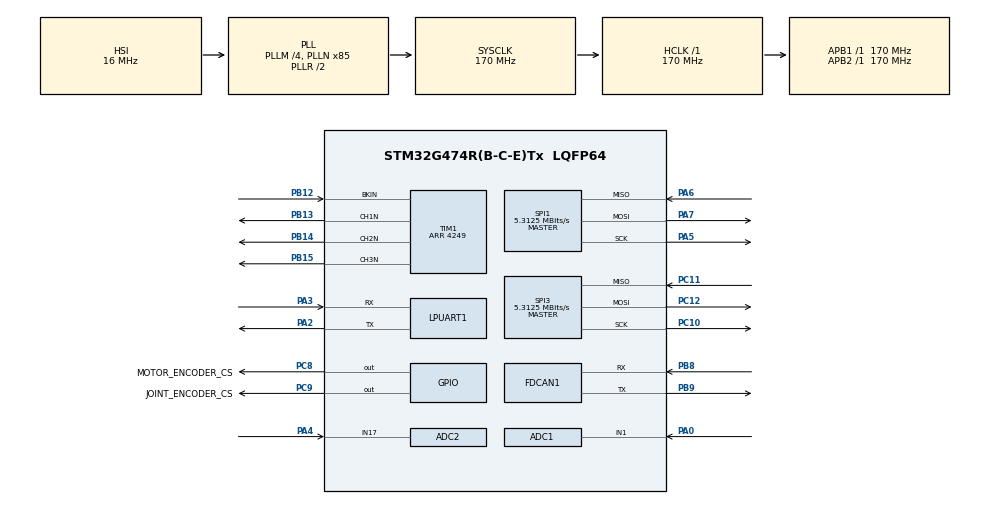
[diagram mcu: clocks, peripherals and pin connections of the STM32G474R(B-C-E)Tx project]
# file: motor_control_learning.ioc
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ADC1.Channel-0\#ChannelRegularConversion=ADC_CHANNEL_1
ADC1.EnableInjectedConversion=ENABLE
ADC1.ExternalTrigInjecConv=ADC_EXTERNALTRIGINJEC_T1_CC4
ADC1.InjNumberOfConversion=1
ADC1.InjectedChannel-1\#ChannelInjectedConversion=ADC_CHANNEL_1
ADC1.InjectedOffsetNumber-1\#ChannelInjectedConversion=ADC_OFFSET_NONE
ADC1.InjectedRank-1\#ChannelInjectedConversion=1
ADC1.InjectedSamplingTime-1\#ChannelInjectedConversion=ADC_SAMPLETIME_47CYCLES_5
ADC1.NbrOfConversionFlag=1
ADC1.OffsetNumber-0\#ChannelRegularConversion=ADC_OFFSET_NONE
ADC1.Overrun=ADC_OVR_DATA_OVERWRITTEN
ADC1.Rank-0\#ChannelRegularConversion=1
ADC1.SamplingTime-0\#ChannelRegularConversion=ADC_SAMPLETIME_2CYCLES_5
ADC1.master=1
ADC2.Channel-0\#ChannelRegularConversion=ADC_CHANNEL_17
ADC2.EnableInjectedConversion=ENABLE
ADC2.ExternalTrigInjecConv=ADC_EXTERNALTRIGINJEC_T1_CC4
ADC2.InjNumberOfConversion=1
ADC2.InjectedChannel-1\#ChannelInjectedConversion=ADC_CHANNEL_17
ADC2.InjectedOffsetNumber-1\#ChannelInjectedConversion=ADC_OFFSET_NONE
ADC2.InjectedRank-1\#ChannelInjectedConversion=1
ADC2.InjectedSamplingTime-1\#ChannelInjectedConversion=ADC_SAMPLETIME_47CYCLES_5
ADC2.NbrOfConversionFlag=1
ADC2.OffsetNumber-0\#ChannelRegularConversion=ADC_OFFSET_NONE
ADC2.Overrun=ADC_OVR_DATA_OVERWRITTEN
ADC2.Rank-0\#ChannelRegularConversion=1
ADC2.Rank1_Channel=ADC_CHANNEL_17
ADC2.SamplingTime-0\#ChannelRegularConversion=ADC_SAMPLETIME_2CYCLES_5
FDCAN1.AutoRetransmission=ENABLE
FDCAN1.CalculateBaudRateNominal=500000
FDCAN1.CalculateTimeBitNominal=2000
FDCAN1.CalculateTimeQuantumNominal=100.0
FDCAN1.DataPrescaler=5
FDCAN1.DataTimeSeg1=12
FDCAN1.DataTimeSeg2=4
FDCAN1.FrameFormat=FDCAN_FRAME_FD_BRS
FDCAN1.NominalPrescaler=17
FDCAN1.NominalTimeSeg1=15
FDCAN1.NominalTimeSeg2=4
FDCAN1.StdFiltersNbr=1
Mcu.Family=STM32G4
Mcu.Name=STM32G474R(B-C-E)Tx
Mcu.Package=LQFP64
NUCLEO-G474RE.BUTTON=1
NUCLEO-G474RE.LD2=false
NUCLEO-G474RE.VCP=false
NVIC.ADC1_2_IRQn=true\:1\:0\:true\:false\:true\:true\:true\:true
NVIC.EXTI15_10_IRQn=true\:0\:0\:false\:false\:true\:false\:true\:true
NVIC.FDCAN1_IT0_IRQn=true\:0\:0\:false\:false\:true\:true\:true\:true
NVIC.PriorityGroup=NVIC_PRIORITYGROUP_4
NVIC.TIM6_DAC_IRQn=true\:0\:0\:false\:false\:true\:true\:true\:true
PA0.Mode=IN1-Single-Ended
PA0.Signal=ADC1_IN1
PA10.Signal=S_TIM1_CH3
PA13.GPIO_Label=T_SWDIO
PA13.Mode=Serial_Wire
PA13.Signal=SYS_JTMS-SWDIO
PA14.GPIO_Label=T_SWCLK
PA14.Mode=Serial_Wire
PA14.Signal=SYS_JTCK-SWCLK
PA2.Mode=Asynchronous
PA2.Signal=LPUART1_TX
PA3.Mode=Asynchronous
PA3.Signal=LPUART1_RX
PA4.Mode=IN17-Single-Ended
PA4.Signal=ADC2_IN17
PA5.Mode=Full_Duplex_Master
PA5.Signal=SPI1_SCK
PA6.Mode=Full_Duplex_Master
PA6.Signal=SPI1_MISO
PA7.Mode=Full_Duplex_Master
PA7.Signal=SPI1_MOSI
PA8.Signal=S_TIM1_CH1
PA9.Signal=S_TIM1_CH2
PB12.GPIO_PuPd=GPIO_PULLDOWN
PB12.Mode=Activate-Break-Input
PB12.Signal=TIM1_BKIN
PB13.Mode=PWM Generation1 CH1N
PB13.Signal=TIM1_CH1N
PB14.Mode=PWM Generation2 CH2N
PB14.Signal=TIM1_CH2N
PB15.Mode=PWM Generation3 CH3N
PB15.Signal=TIM1_CH3N
PB3.GPIO_Label=T_SWO
PB3.Signal=SYS_JTDO-SWO
PB8-BOOT0.Mode=FDCAN_Activate
PB8-BOOT0.Signal=FDCAN1_RX
PB9.Mode=FDCAN_Activate
PB9.Signal=FDCAN1_TX
PC10.Mode=Full_Duplex_Master
PC10.Signal=SPI3_SCK
PC11.Mode=Full_Duplex_Master
PC11.Signal=SPI3_MISO
PC12.Mode=Full_Duplex_Master
PC12.Signal=SPI3_MOSI
PC13.Signal=SYS_WKUP2
PC14-OSC32_IN.GPIO_Label=RCC_OSC32_IN
PC14-OSC32_IN.Signal=RCC_OSC32_IN
PC15-OSC32_OUT.GPIO_Label=RCC_OSC32_OUT
PC15-OSC32_OUT.Signal=RCC_OSC32_OUT
PC8.GPIO_Label=MOTOR_ENCODER_CS
PC8.GPIO_OutputLevel=GPIO_PIN_SET
PC8.Signal=GPIO_Output
PC9.GPIO_Label=JOINT_ENCODER_CS
PC9.GPIO_OutputLevel=GPIO_PIN_SET
PC9.Signal=GPIO_Output
PF0-OSC_IN.GPIO_Label=RCC_OSC_IN
PF0-OSC_IN.Mode=HSE-External-Clock-Source
PF0-OSC_IN.Signal=RCC_OSC_IN
PF1-OSC_OUT.GPIO_Label=RCC_OSC_OUT
PF1-OSC_OUT.Signal=RCC_OSC_OUT
ProjectManager.HeapSize=0x200
ProjectManager.StackSize=0x400
ProjectManager.TargetToolchain=STM32CubeIDE
RCC.ADC12Freq_Value=170000000
RCC.ADC345Freq_Value=170000000
RCC.AHBFreq_Value=170000000
RCC.APB1Freq_Value=170000000
RCC.APB1TimFreq_Value=170000000
RCC.APB2Freq_Value=170000000
RCC.APB2TimFreq_Value=170000000
RCC.CortexFreq_Value=170000000
RCC.EXTERNAL_CLOCK_VALUE=12288000
RCC.HCLKFreq_Value=170000000
RCC.HSE_VALUE=24000000
RCC.HSI48_VALUE=48000000
RCC.HSI_VALUE=16000000
RCC.LSE_VALUE=32768
RCC.PLLM=RCC_PLLM_DIV4
RCC.PLLN=85
RCC.RTCClockSelection=RCC_RTCCLKSOURCE_LSE
RCC.SYSCLKFreq_VALUE=170000000
RCC.SYSCLKSource=RCC_SYSCLKSOURCE_PLLCLK
RCC.USBFreq_Value=170000000
RCC.VCOOutputFreq_Value=340000000
SH.S_TIM1_CH1.0=TIM1_CH1
SH.S_TIM1_CH2.0=TIM1_CH2
SH.S_TIM1_CH3.0=TIM1_CH3
SPI1.BaudRatePrescaler=SPI_BAUDRATEPRESCALER_32
SPI1.CLKPhase=SPI_PHASE_2EDGE
SPI1.CLKPolarity=SPI_POLARITY_HIGH
SPI1.CalculateBaudRate=5.3125 MBits/s
SPI1.DataSize=SPI_DATASIZE_8BIT
SPI1.Direction=SPI_DIRECTION_2LINES
SPI1.Mode=SPI_MODE_MASTER
SPI1.VirtualType=VM_MASTER
SPI3.BaudRatePrescaler=SPI_BAUDRATEPRESCALER_32
SPI3.CLKPhase=SPI_PHASE_1EDGE
SPI3.CLKPolarity=SPI_POLARITY_LOW
SPI3.CalculateBaudRate=5.3125 MBits/s
SPI3.DataSize=SPI_DATASIZE_8BIT
SPI3.Direction=SPI_DIRECTION_2LINES
SPI3.Mode=SPI_MODE_MASTER
SPI3.NSSPMode=SPI_NSS_PULSE_DISABLE
SPI3.VirtualType=VM_MASTER
TIM1.AutoReloadPreload=TIM_AUTORELOAD_PRELOAD_ENABLE
TIM1.Channel-Output\ Compare4\ No\ Output=TIM_CHANNEL_4
TIM1.Channel-PWM\ Generation1\ CH1N=TIM_CHANNEL_1
TIM1.Channel-PWM\ Generation2\ CH2N=TIM_CHANNEL_2
TIM1.Channel-PWM\ Generation3\ CH3N=TIM_CHANNEL_3
TIM1.CounterMode=TIM_COUNTERMODE_CENTERALIGNED1
TIM1.PeriodNoDither=4249
TIM1.PulseNoDither_4=2125
TIM1.TIM_MasterOutputTrigger2=TIM_TRGO2_OC4REF_RISINGFALLING
TIM6.PeriodNoDither=9
TIM6.Prescaler=16999
VP_NUCLEO-G474RE_VS_BSP_COMMON.Mode=COMMON
VP_SYS_VS_DBSignals.Mode=DisableDeadBatterySignals
VP_TIM1_VS_ClockSourceINT.Mode=Internal
VP_TIM1_VS_no_output4.Mode=Output Compare4 No Output
VP_TIM6_VS_ClockSourceINT.Mode=Enable_Timer
board=NUCLEO-G474RE

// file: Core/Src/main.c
/* USER CODE BEGIN Header */
/**
  ******************************************************************************
  * @file           : main.c
  * @brief          : Main program body
  ******************************************************************************
  * @attention
  *
  * Copyright (c) 2026 STMicroelectronics.
  * All rights reserved.
  *
  * This software is licensed under terms that can be found in the LICENSE file
  * in the root directory of this software component.
  * If no LICENSE file comes with this software, it is provided AS-IS.
  *
  ******************************************************************************
  */
/* USER CODE END Header */
#include "main.h"

/* USER CODE BEGIN Includes */
#include <stdio.h>
#include "svpwm.h"
#include "current_sense.h"
#include "bus_voltage.h"
#include "foc_math.h"
#include "control_utils.h"
#include "motor_state.h"
#include "motion_control.h"
#include "dual_encoder.h"
#include "dual_encoder_spi.h"
#include "encoder_hal_spi.h"
#include "magnetic_encoder_protocol.h"
#include "canfd_app.h"
#include <math.h>
/* USER CODE END Includes */

ADC_HandleTypeDef hadc1;
ADC_HandleTypeDef hadc2;

FDCAN_HandleTypeDef hfdcan1;

UART_HandleTypeDef hlpuart1;

SPI_HandleTypeDef hspi1;
SPI_HandleTypeDef hspi3;

TIM_HandleTypeDef htim1;
TIM_HandleTypeDef htim6;

/* USER CODE BEGIN PV */
volatile uint32_t g_tick_ms = 0;
uint32_t last_report_ms = 0;

/* ADC injected conversion results */
volatile uint16_t g_adc1_current_raw = 0;
volatile uint16_t g_adc2_current_raw = 0;

/* ADC conversion synchronization flags */
volatile uint8_t g_adc1_sample_done = 0;
volatile uint8_t g_adc2_sample_done = 0;
volatile uint8_t g_adc_sample_ready = 0;

CurrentSenseConfig g_current_sense_config =
{
    .offset_raw_a = 2048U,
    .offset_raw_b = 2048U,
    .amp_per_count_a = 0.008058608f,
    .amp_per_count_b = 0.008058608f
};

BusVoltageConfig g_bus_voltage_config =
{
    .adc_reference_voltage = 3.3f,
    .divider_ratio = 11.0f,
    .filter_alpha = 0.1f
};

PhaseCurrent g_phase_current =
{
    .phase_a = 0.0f,
    .phase_b = 0.0f,
    .phase_c = 0.0f
};

float g_i_alpha = 0.0f;
float g_i_beta = 0.0f;
float g_i_d = 0.0f;
float g_i_q = 0.0f;

/* Dual-encoder state: simulated inputs are used until hardware is attached. */
DualEncoderController g_dual_encoder;
DualEncoderSpiController g_dual_encoder_spi;
uint8_t g_dual_encoder_spi_ready = 0U;
MagneticEncoderDiagnostics g_motor_encoder_diagnostics;
MagneticEncoderDiagnostics g_joint_encoder_diagnostics;
EncoderHalSpiContext g_motor_encoder_spi_context =
{
    .hspi = &hspi1,
    .cs_port = MOTOR_ENCODER_CS_GPIO_Port,
    .cs_pin = MOTOR_ENCODER_CS_Pin,
    .timeout_ms = 2U
};
EncoderHalSpiContext g_joint_encoder_spi_context =
{
    .hspi = &hspi3,
    .cs_port = JOINT_ENCODER_CS_GPIO_Port,
    .cs_pin = JOINT_ENCODER_CS_Pin,
    .timeout_ms = 2U
};
float g_motor_mechanical_angle = 0.0f;
float g_joint_position = 0.0f;
float g_motor_speed = 0.0f;
float g_joint_speed = 0.0f;
float g_electrical_angle = 0.0f;
float g_simulated_motor_encoder_angle = 0.0f;
float g_simulated_joint_encoder_angle = 0.0f;

/* Open-loop commissioning values until bus-voltage and encoder drivers exist. */
#define MOTOR_CONTROL_PERIOD_SECONDS (1.0f / 20000.0f)
#define MOTOR_DEFAULT_BUS_VOLTAGE    (24.0f)
#define MOTOR_MAX_MODULATION_VOLTAGE (0.57735026919f)
#define MOTOR_CURRENT_REFERENCE_D    (0.0f)
#define MOTOR_CURRENT_REFERENCE_Q    (g_iq_reference)
#define MOTOR_TORQUE_CONSTANT        (0.1f)
#define MOTOR_MAX_IQ_REFERENCE       (8.0f)
#define MOTOR_OUTER_LOOP_PERIOD_SECONDS (1.0f / 2000.0f)
#define MOTOR_OUTER_LOOP_DIVIDER       (10U)
#define MOTOR_POSITION_LOOP_DIVIDER    (2U)
#define MOTOR_OVERCURRENT_LIMIT_AMP  (10.0f)
#define MOTOR_MIN_BUS_VOLTAGE        (8.0f)
#define MOTOR_MAX_BUS_VOLTAGE        (30.0f)

PI_Controller g_current_pi_d;
PI_Controller g_current_pi_q;
MotorController g_motor_controller;
MotionController g_motion_controller;
float g_iq_reference = 0.0f;
float g_simulated_position_reference = 0.0f;
float g_simulated_velocity_feedforward = 0.0f;
float g_simulated_torque_feedforward = 0.0f;
MotionControlMode g_control_mode = MOTION_CONTROL_MODE_POSITION;
float g_command_position_stiffness = 10.0f;
float g_command_velocity_damping = 0.08f;
uint16_t g_outer_loop_divider = 0U;
uint8_t g_position_loop_divider = 0U;
volatile MotorCommand g_pending_motor_command = MOTOR_CMD_NONE;

/* USER CODE END PV */

void SystemClock_Config(void);
static void MX_GPIO_Init(void);
static void MX_LPUART1_UART_Init(void);
static void MX_TIM6_Init(void);
static void MX_TIM1_Init(void);
static void MX_ADC1_Init(void);
static void MX_ADC2_Init(void);
static void MX_FDCAN1_Init(void);
static void MX_SPI1_Init(void);
static void MX_SPI3_Init(void);
/* USER CODE BEGIN PFP */
static void motor_control_run_current_loop(void);
static void motor_control_apply_pending_command(void);
static void motor_control_update_outer_loops(void);
static void motor_control_latch_fault(MotorFault fault);
static MotorFault motor_control_check_protection(
    const PhaseCurrent *phase_current);
static void motor_control_reset_current_pi(void);
static void motor_control_reset_outer_loops(void);
static void motor_encoder_hardware_init(const DualEncoderConfig *config);

/* USER CODE END PFP */

/* USER CODE BEGIN 0 */
static uint32_t motor_pwm_duty_to_ccr(float duty)
{
    uint32_t period_counts = htim1.Init.Period + 1U;

    if (duty < 0.0f)
    {
        duty = 0.0f;
    }
    else if (duty > 1.0f)
    {
        duty = 1.0f;
    }

    return (uint32_t)(duty * (float)period_counts + 0.5f);
}

static void motor_pwm_set_duty(float duty_a, float duty_b, float duty_c)
{
    __HAL_TIM_SET_COMPARE(&htim1, TIM_CHANNEL_1,
                          motor_pwm_duty_to_ccr(duty_a));
    __HAL_TIM_SET_COMPARE(&htim1, TIM_CHANNEL_2,
                          motor_pwm_duty_to_ccr(duty_b));
    __HAL_TIM_SET_COMPARE(&htim1, TIM_CHANNEL_3,
                          motor_pwm_duty_to_ccr(duty_c));
}

static void motor_pwm_update_voltage(float v_alpha,
                                     float v_beta,
                                     float v_bus)
{
    SvpwmOutput pwm = svpwm_calculate(v_alpha, v_beta, v_bus);

    motor_pwm_set_duty(pwm.duty_a,
                        pwm.duty_b,
                        pwm.duty_c);
}

static void motor_pwm_set_neutral(void)
{
    motor_pwm_set_duty(0.5f, 0.5f, 0.5f);
}

static void motor_pwm_disable_outputs(void)
{
    __HAL_TIM_MOE_DISABLE(&htim1);
    motor_pwm_set_neutral();
}

static void motor_pwm_enable_outputs(void)
{
    __HAL_TIM_MOE_ENABLE(&htim1);
}

static void motor_control_latch_fault(MotorFault fault);

static void motor_control_reset_current_pi(void)
{
    g_current_pi_d.integral = 0.0f;
    g_current_pi_q.integral = 0.0f;
    g_current_pi_d.last_unsaturated_output = 0.0f;
    g_current_pi_d.last_output = 0.0f;
    g_current_pi_q.last_unsaturated_output = 0.0f;
    g_current_pi_q.last_output = 0.0f;
}

static void motor_control_init(void)
{
    /*
     * These gains are deliberately conservative commissioning values. They
     * must be retuned after the motor resistance, inductance and sensor
     * scaling are known.
     */
    pi_controller_init(&g_current_pi_d,
                       1.0f,
                       100.0f,
                       -13.0f,
                       13.0f);
    pi_controller_init(&g_current_pi_q,
                       1.0f,
                       100.0f,
                       -13.0f,
                       13.0f);
    pi_controller_set_anti_windup(&g_current_pi_d, 500.0f);
    pi_controller_set_anti_windup(&g_current_pi_q, 500.0f);

    const MotionControlConfig motion_config =
    {
        .velocity_filter_alpha = 0.2f,
        .velocity_kp = 0.08f,
        .velocity_ki = 2.0f,
        .velocity_output_min = -8.0f,
        .velocity_output_max = 8.0f,
        .position_kp = 10.0f,
        .position_min = -3.14159265359f,
        .position_max = 3.14159265359f,
        .velocity_limit = 20.0f,
        .torque_feedforward_gain = 1.0f,
        .velocity_feedforward_gain = 1.0f
    };

    motion_controller_init(&g_motion_controller,
                           &motion_config,
                           0.0f);

    motor_controller_init(&g_motor_controller);
    motor_controller_step(&g_motor_controller,
                           MOTOR_CMD_ENABLE,
                           MOTOR_FAULT_NONE);
    motor_controller_step(&g_motor_controller,
                           MOTOR_CMD_CALIBRATION_DONE,
                           MOTOR_FAULT_NONE);
    motor_control_reset_current_pi();
    const DualEncoderConfig encoder_config =
    {
        .pole_pairs = 4U,
        .electrical_offset = 0.0f,
        .gear_ratio = 50.0f,
        .motor_velocity_filter_alpha = 0.2f,
        .joint_velocity_filter_alpha = 0.2f,
        .position_error_limit = 0.20f,
        .speed_error_limit = 5.0f
    };

    dual_encoder_init(&g_dual_encoder,
                      &encoder_config,
                      g_simulated_motor_encoder_angle,
                      g_simulated_joint_encoder_angle);
    motor_encoder_hardware_init(&encoder_config);

    const DualEncoderState *encoder_state =
        (g_dual_encoder_spi_ready != 0U) ?
        dual_encoder_spi_get_state(&g_dual_encoder_spi) :
        dual_encoder_get_state(&g_dual_encoder);
    g_motor_mechanical_angle = encoder_state->motor_mechanical_angle;
    g_joint_position = encoder_state->joint_position;
    g_motor_speed = encoder_state->motor_speed;
    g_joint_speed = encoder_state->joint_speed;
    g_electrical_angle = encoder_state->motor_electrical_angle;

    motion_controller_reset(&g_motion_controller,
                            g_joint_position);
    g_iq_reference = 0.0f;
    g_outer_loop_divider = 0U;
    g_position_loop_divider = 0U;
    motor_pwm_disable_outputs();
}

static void motor_encoder_hardware_init(const DualEncoderConfig *config)
{
    static const uint8_t kth7112_read_angle_command[4] =
    {
        0x00U, 0x00U, 0x00U, 0x00U
    };
    static const uint8_t ktm5910_read_angle_command[5] =
    {
        0x43U, 0x00U, 0x00U, 0x00U, 0x00U
    };
    EncoderSpiDevice motor_encoder;
    EncoderSpiDevice joint_encoder;
    float discard_angle;
    const EncoderSpiBus motor_bus =
    {
        .transfer = encoder_hal_spi_transfer,
        .context = &g_motor_encoder_spi_context
    };
    const EncoderSpiBus joint_bus =
    {
        .transfer = encoder_hal_spi_transfer,
        .context = &g_joint_encoder_spi_context
    };

    encoder_spi_device_init(&motor_encoder,
                            &motor_bus,
                            kth7112_decode_spi_angle,
                            &g_motor_encoder_diagnostics,
                            kth7112_read_angle_command,
                            sizeof(kth7112_read_angle_command));
    encoder_spi_device_init(&joint_encoder,
                            &joint_bus,
                            ktm5910_decode_spi_angle,
                            &g_joint_encoder_diagnostics,
                            ktm5910_read_angle_command,
                            sizeof(ktm5910_read_angle_command));

    (void)encoder_spi_device_read_angle(&joint_encoder,
                                        &discard_angle);

    if (dual_encoder_spi_init(&g_dual_encoder_spi,
                              config,
                              &motor_encoder,
                              &joint_encoder) == ENCODER_SPI_OK)
    {
        g_dual_encoder_spi_ready = 1U;
    }
    else
    {
        g_dual_encoder_spi_ready = 0U;
    }
}

static void motor_control_reset_outer_loops(void)
{
    motion_controller_reset(&g_motion_controller,
                            g_joint_position);
    g_iq_reference = 0.0f;
    g_outer_loop_divider = 0U;
    g_position_loop_divider = 0U;
}

static void motor_control_update_outer_loops(void)
{
    int encoder_update_status;

    if (++g_outer_loop_divider < MOTOR_OUTER_LOOP_DIVIDER)
    {
        return;
    }

    g_outer_loop_divider = 0U;

    if (g_dual_encoder_spi_ready != 0U)
    {
        encoder_update_status =
            dual_encoder_spi_update(
                &g_dual_encoder_spi,
                MOTOR_OUTER_LOOP_PERIOD_SECONDS);
    }
    else
    {
        encoder_update_status =
            (dual_encoder_update(
                 &g_dual_encoder,
                 g_simulated_motor_encoder_angle,
                 g_simulated_joint_encoder_angle,
                 MOTOR_OUTER_LOOP_PERIOD_SECONDS) != 0U) ?
            ENCODER_SPI_OK :
            ENCODER_SPI_DECODE_ERROR;
    }

    if (encoder_update_status != ENCODER_SPI_OK)
    {
        motor_control_latch_fault(MOTOR_FAULT_ENCODER);
        return;
    }

    const DualEncoderState *encoder_state =
        (g_dual_encoder_spi_ready != 0U) ?
        dual_encoder_spi_get_state(&g_dual_encoder_spi) :
        dual_encoder_get_state(&g_dual_encoder);
    g_motor_mechanical_angle = encoder_state->motor_mechanical_angle;
    g_joint_position = encoder_state->joint_position;
    g_motor_speed = encoder_state->motor_speed;
    g_joint_speed = encoder_state->joint_speed;
    g_electrical_angle = encoder_state->motor_electrical_angle;

    motion_controller_set_feedback(&g_motion_controller,
                                   g_joint_position,
                                   g_joint_speed);

    if (++g_position_loop_divider >= MOTOR_POSITION_LOOP_DIVIDER)
    {
        g_position_loop_divider = 0U;
    }

    const float torque_reference =
        motion_controller_update_mode_scheduled(
            &g_motion_controller,
            g_control_mode,
            g_simulated_position_reference,
            g_simulated_velocity_feedforward,
            g_command_position_stiffness,
            g_command_velocity_damping,
            g_simulated_torque_feedforward,
            MOTOR_OUTER_LOOP_PERIOD_SECONDS,
            (g_position_loop_divider == 0U) ? 1U : 0U);
    g_iq_reference =
        mc_clamp_f32(
            torque_reference / MOTOR_TORQUE_CONSTANT,
            -MOTOR_MAX_IQ_REFERENCE,
            MOTOR_MAX_IQ_REFERENCE);
}

static void motor_control_apply_pending_command(void)
{
    MotorCommand command;

    __disable_irq();
    command = g_pending_motor_command;
    g_pending_motor_command = MOTOR_CMD_NONE;
    __enable_irq();

    if (command != MOTOR_CMD_NONE)
    {
        motor_controller_step(&g_motor_controller,
                               command,
                               MOTOR_FAULT_NONE);

        if (g_motor_controller.state == MOTOR_STATE_RUNNING)
        {
            motor_pwm_enable_outputs();
        }
        else
        {
            motor_pwm_disable_outputs();
            motor_control_reset_current_pi();
            motor_control_reset_outer_loops();
        }
    }
}

static void motor_control_latch_fault(MotorFault fault)
{
    motor_controller_step(&g_motor_controller,
                           MOTOR_CMD_FAULT,
                           fault);
    motor_control_reset_current_pi();
    motor_control_reset_outer_loops();
    motor_pwm_disable_outputs();
}

static MotorFault motor_control_check_protection(
    const PhaseCurrent *phase_current)
{
    const float bus_voltage = bus_voltage_get();

    if (phase_current == 0)
    {
        return MOTOR_FAULT_DRIVER;
    }

    if (fabsf(phase_current->phase_a) > MOTOR_OVERCURRENT_LIMIT_AMP ||
        fabsf(phase_current->phase_b) > MOTOR_OVERCURRENT_LIMIT_AMP ||
        fabsf(phase_current->phase_c) > MOTOR_OVERCURRENT_LIMIT_AMP)
    {
        return MOTOR_FAULT_OVERCURRENT;
    }

    if (bus_voltage < MOTOR_MIN_BUS_VOLTAGE)
    {
        return MOTOR_FAULT_UNDERVOLTAGE;
    }

    if (bus_voltage > MOTOR_MAX_BUS_VOLTAGE)
    {
        return MOTOR_FAULT_OVERVOLTAGE;
    }

    return MOTOR_FAULT_NONE;
}

static void motor_control_run_current_loop(void)
{
    const float sin_theta = sinf(g_electrical_angle);
    const float cos_theta = cosf(g_electrical_angle);
    const float v_bus = bus_voltage_get();
    const float voltage_limit =
        v_bus * MOTOR_MAX_MODULATION_VOLTAGE;

    DqAxis voltage_dq;
    AlphaBeta voltage_alpha_beta;

    voltage_dq.d = pi_controller_update(&g_current_pi_d,
                                         MOTOR_CURRENT_REFERENCE_D - g_i_d,
                                         MOTOR_CONTROL_PERIOD_SECONDS);
    voltage_dq.q = pi_controller_update(&g_current_pi_q,
                                         MOTOR_CURRENT_REFERENCE_Q - g_i_q,
                                         MOTOR_CONTROL_PERIOD_SECONDS);

    /*
     * Keep the requested voltage vector inside the linear SVPWM range.
     * Scaling both axes preserves its direction when the PI outputs saturate.
     */
    const float voltage_magnitude =
        sqrtf(voltage_dq.d * voltage_dq.d +
              voltage_dq.q * voltage_dq.q);

    if (voltage_magnitude > voltage_limit &&
        voltage_magnitude > 0.0f)
    {
        const float scale = voltage_limit / voltage_magnitude;
        voltage_dq.d *= scale;
        voltage_dq.q *= scale;
    }

    pi_controller_apply_output_feedback(
        &g_current_pi_d,
        voltage_dq.d,
        MOTOR_CONTROL_PERIOD_SECONDS);
    pi_controller_apply_output_feedback(
        &g_current_pi_q,
        voltage_dq.q,
        MOTOR_CONTROL_PERIOD_SECONDS);

    voltage_alpha_beta =
        foc_inverse_park(voltage_dq, sin_theta, cos_theta);

    motor_pwm_update_voltage(voltage_alpha_beta.alpha,
                             voltage_alpha_beta.beta,
                             v_bus);
}
/* USER CODE END 0 */

int main(void)
{

  /* MCU Configuration--------------------------------------------------------*/

  /* Reset of all peripherals, Initializes the Flash interface and the Systick. */
  HAL_Init();

  /* Configure the system clock */
  SystemClock_Config();

  /* Initialize all configured peripherals */
  MX_GPIO_Init();
  MX_LPUART1_UART_Init();
  MX_TIM6_Init();
  MX_TIM1_Init();
  MX_ADC1_Init();
  MX_ADC2_Init();
  MX_FDCAN1_Init();
  MX_SPI1_Init();
  MX_SPI3_Init();
  /* USER CODE BEGIN 2 */

  /*
   * ADC calibration must be completed before starting conversions.
   */

   current_sense_init(&g_current_sense_config);
   bus_voltage_init(&g_bus_voltage_config);
   bus_voltage_set_simulated(MOTOR_DEFAULT_BUS_VOLTAGE);

  if (HAL_ADCEx_Calibration_Start(&hadc1,
                                  ADC_SINGLE_ENDED) != HAL_OK)
  {
    Error_Handler();
  }

  if (HAL_ADCEx_Calibration_Start(&hadc2,
                                  ADC_SINGLE_ENDED) != HAL_OK)
  {
    Error_Handler();
  }

  /*
   * Start injected conversions in interrupt mode.
   * The ADCs will now wait for the TIM1_CC4 trigger.
   */
  if (HAL_ADCEx_InjectedStart_IT(&hadc1) != HAL_OK)
  {
    Error_Handler();
  }

  if (HAL_ADCEx_InjectedStart_IT(&hadc2) != HAL_OK)
  {
    Error_Handler();
  }

  /*
   * Start TIM1 only after both ADCs are armed. CH4 is an internal compare
   * event, so it must be started explicitly to generate the ADC trigger.
   * Begin with a neutral 50 percent duty on all phases.
   */
  motor_pwm_set_duty(0.5f, 0.5f, 0.5f);

  if (HAL_TIM_PWM_Start(&htim1, TIM_CHANNEL_1) != HAL_OK ||
      HAL_TIM_PWM_Start(&htim1, TIM_CHANNEL_2) != HAL_OK ||
      HAL_TIM_PWM_Start(&htim1, TIM_CHANNEL_3) != HAL_OK ||
      HAL_TIMEx_PWMN_Start(&htim1, TIM_CHANNEL_1) != HAL_OK ||
      HAL_TIMEx_PWMN_Start(&htim1, TIM_CHANNEL_2) != HAL_OK ||
      HAL_TIMEx_PWMN_Start(&htim1, TIM_CHANNEL_3) != HAL_OK ||
      HAL_TIM_OC_Start(&htim1, TIM_CHANNEL_4) != HAL_OK)
  {
    Error_Handler();
  }

  if (HAL_TIM_Base_Start_IT(&htim6) != HAL_OK)
  {
    Error_Handler();
  }

  motor_control_init();
  canfd_app_init(&hfdcan1, 1U, 20U);

  /* USER CODE END 2 */

  /* Initialize USER push-button, will be used to trigger an interrupt each time it's pressed.*/
  BSP_PB_Init(BUTTON_USER, BUTTON_MODE_EXTI);

  /* Infinite loop */
  /* USER CODE BEGIN WHILE */
  while (1)
  {
    const CanFdControlTarget *can_target;

    canfd_app_update(g_tick_ms);
    can_target = canfd_app_get_target();

    if (can_target != 0)
    {
      g_simulated_position_reference = can_target->position;
      g_simulated_velocity_feedforward = can_target->velocity;
      g_simulated_torque_feedforward =
          can_target->torque_feedforward;
      g_control_mode = (MotionControlMode)can_target->mode;
      g_command_position_stiffness = can_target->kp;
      g_command_velocity_damping = can_target->kd;

      if (can_target->enabled != 0U &&
          g_motor_controller.state == MOTOR_STATE_READY)
      {
        g_pending_motor_command = MOTOR_CMD_START;
      }
      else if (can_target->enabled == 0U &&
               g_motor_controller.state == MOTOR_STATE_RUNNING)
      {
        g_pending_motor_command = MOTOR_CMD_STOP;
      }

    }

    motor_control_apply_pending_command();

    if (canfd_app_control_alive() == 0U &&
        g_motor_controller.state == MOTOR_STATE_RUNNING)
    {
      g_pending_motor_command = MOTOR_CMD_STOP;
    }

    if (g_adc_sample_ready != 0U)
    {
      uint16_t raw_a;
      uint16_t raw_b;
      Phase3 phase_current;
      AlphaBeta stationary;
      DqAxis rotating;
      float sin_theta;
      float cos_theta;

      __disable_irq();
      raw_a = g_adc1_current_raw;
      raw_b = g_adc2_current_raw;
      g_adc_sample_ready = 0U;
      __enable_irq();

      g_phase_current =
          current_sense_get_phase_current(raw_a, raw_b);

      const MotorFault protection_fault =
          motor_control_check_protection(&g_phase_current);

      if (protection_fault != MOTOR_FAULT_NONE)
      {
        motor_control_latch_fault(protection_fault);
        continue;
      }

      phase_current.a = g_phase_current.phase_a;
      phase_current.b = g_phase_current.phase_b;
      phase_current.c = g_phase_current.phase_c;
      stationary = foc_clarke(phase_current);
      g_i_alpha = stationary.alpha;
      g_i_beta = stationary.beta;

      sin_theta = sinf(g_electrical_angle);
      cos_theta = cosf(g_electrical_angle);
      rotating = foc_park(stationary, sin_theta, cos_theta);
      g_i_d = rotating.d;
      g_i_q = rotating.q;

      motor_control_update_outer_loops();

      if (motor_controller_is_output_allowed(&g_motor_controller) != 0U)
      {
        motor_control_run_current_loop();
      }
      else
      {
        motor_control_reset_current_pi();
        motor_pwm_set_neutral();
      }
    }

    if ((uint32_t)(g_tick_ms - last_report_ms) >= 10U)
    {
      CanFdStatus status;

      last_report_ms = g_tick_ms;
      status.position = g_joint_position;
      status.velocity = g_joint_speed;
      status.torque = g_iq_reference * MOTOR_TORQUE_CONSTANT;
      status.current = g_i_q;
      status.bus_voltage = bus_voltage_get();
      status.temperature = 0.0f;
      status.fault_code = (uint32_t)g_motor_controller.fault |
                          canfd_app_fault_code();
      (void)canfd_app_send_status(&status);
    }

    /* USER CODE END WHILE */

  }
}

void SystemClock_Config(void)
{
  RCC_OscInitTypeDef RCC_OscInitStruct = {0};
  RCC_ClkInitTypeDef RCC_ClkInitStruct = {0};

  /** Configure the main internal regulator output voltage
  */
  HAL_PWREx_ControlVoltageScaling(PWR_REGULATOR_VOLTAGE_SCALE1_BOOST);

  /** Initializes the RCC Oscillators according to the specified parameters
  * in the RCC_OscInitTypeDef structure.
  */
  RCC_OscInitStruct.OscillatorType = RCC_OSCILLATORTYPE_HSI;
  RCC_OscInitStruct.HSIState = RCC_HSI_ON;
  RCC_OscInitStruct.HSICalibrationValue = RCC_HSICALIBRATION_DEFAULT;
  RCC_OscInitStruct.PLL.PLLState = RCC_PLL_ON;
  RCC_OscInitStruct.PLL.PLLSource = RCC_PLLSOURCE_HSI;
  RCC_OscInitStruct.PLL.PLLM = RCC_PLLM_DIV4;
  RCC_OscInitStruct.PLL.PLLN = 85;
  RCC_OscInitStruct.PLL.PLLP = RCC_PLLP_DIV2;
  RCC_OscInitStruct.PLL.PLLQ = RCC_PLLQ_DIV2;
  RCC_OscInitStruct.PLL.PLLR = RCC_PLLR_DIV2;
  if (HAL_RCC_OscConfig(&RCC_OscInitStruct) != HAL_OK)
  {
    Error_Handler();
  }

  /** Initializes the CPU, AHB and APB buses clocks
  */
  RCC_ClkInitStruct.ClockType = RCC_CLOCKTYPE_HCLK|RCC_CLOCKTYPE_SYSCLK
                              |RCC_CLOCKTYPE_PCLK1|RCC_CLOCKTYPE_PCLK2;
  RCC_ClkInitStruct.SYSCLKSource = RCC_SYSCLKSOURCE_PLLCLK;
  RCC_ClkInitStruct.AHBCLKDivider = RCC_SYSCLK_DIV1;
  RCC_ClkInitStruct.APB1CLKDivider = RCC_HCLK_DIV1;
  RCC_ClkInitStruct.APB2CLKDivider = RCC_HCLK_DIV1;

  if (HAL_RCC_ClockConfig(&RCC_ClkInitStruct, FLASH_LATENCY_4) != HAL_OK)
  {
    Error_Handler();
  }
}

static void MX_ADC1_Init(void)
{

  ADC_MultiModeTypeDef multimode = {0};
  ADC_ChannelConfTypeDef sConfig = {0};
  ADC_InjectionConfTypeDef sConfigInjected = {0};

  /** Common config
  */
  hadc1.Instance = ADC1;
  hadc1.Init.ClockPrescaler = ADC_CLOCK_SYNC_PCLK_DIV4;
  hadc1.Init.Resolution = ADC_RESOLUTION_12B;
  hadc1.Init.DataAlign = ADC_DATAALIGN_RIGHT;
  hadc1.Init.GainCompensation = 0;
  hadc1.Init.ScanConvMode = ADC_SCAN_DISABLE;
  hadc1.Init.EOCSelection = ADC_EOC_SINGLE_CONV;
  hadc1.Init.LowPowerAutoWait = DISABLE;
  hadc1.Init.ContinuousConvMode = DISABLE;
  hadc1.Init.NbrOfConversion = 1;
  hadc1.Init.DiscontinuousConvMode = DISABLE;
  hadc1.Init.ExternalTrigConv = ADC_SOFTWARE_START;
  hadc1.Init.ExternalTrigConvEdge = ADC_EXTERNALTRIGCONVEDGE_NONE;
  hadc1.Init.DMAContinuousRequests = DISABLE;
  hadc1.Init.Overrun = ADC_OVR_DATA_OVERWRITTEN;
  hadc1.Init.OversamplingMode = DISABLE;
  if (HAL_ADC_Init(&hadc1) != HAL_OK)
  {
    Error_Handler();
  }

  /** Configure the ADC multi-mode
  */
  multimode.Mode = ADC_MODE_INDEPENDENT;
  if (HAL_ADCEx_MultiModeConfigChannel(&hadc1, &multimode) != HAL_OK)
  {
    Error_Handler();
  }

  /** Configure Regular Channel
  */
  sConfig.Channel = ADC_CHANNEL_1;
  sConfig.Rank = ADC_REGULAR_RANK_1;
  sConfig.SamplingTime = ADC_SAMPLETIME_2CYCLES_5;
  sConfig.SingleDiff = ADC_SINGLE_ENDED;
  sConfig.OffsetNumber = ADC_OFFSET_NONE;
  sConfig.Offset = 0;
  if (HAL_ADC_ConfigChannel(&hadc1, &sConfig) != HAL_OK)
  {
    Error_Handler();
  }

  /** Configure Injected Channel
  */
  sConfigInjected.InjectedChannel = ADC_CHANNEL_1;
  sConfigInjected.InjectedRank = ADC_INJECTED_RANK_1;
  sConfigInjected.InjectedSamplingTime = ADC_SAMPLETIME_47CYCLES_5;
  sConfigInjected.InjectedSingleDiff = ADC_SINGLE_ENDED;
  sConfigInjected.InjectedOffsetNumber = ADC_OFFSET_NONE;
  sConfigInjected.InjectedOffset = 0;
  sConfigInjected.InjectedNbrOfConversion = 1;
  sConfigInjected.InjectedDiscontinuousConvMode = DISABLE;
  sConfigInjected.AutoInjectedConv = DISABLE;
  sConfigInjected.QueueInjectedContext = DISABLE;
  sConfigInjected.ExternalTrigInjecConv = ADC_EXTERNALTRIGINJEC_T1_CC4;
  sConfigInjected.ExternalTrigInjecConvEdge = ADC_EXTERNALTRIGINJECCONV_EDGE_RISING;
  sConfigInjected.InjecOversamplingMode = DISABLE;
  if (HAL_ADCEx_InjectedConfigChannel(&hadc1, &sConfigInjected) != HAL_OK)
  {
    Error_Handler();
  }

}

static void MX_ADC2_Init(void)
{

  ADC_ChannelConfTypeDef sConfig = {0};
  ADC_InjectionConfTypeDef sConfigInjected = {0};

  /** Common config
  */
  hadc2.Instance = ADC2;
  hadc2.Init.ClockPrescaler = ADC_CLOCK_SYNC_PCLK_DIV4;
  hadc2.Init.Resolution = ADC_RESOLUTION_12B;
  hadc2.Init.DataAlign = ADC_DATAALIGN_RIGHT;
  hadc2.Init.GainCompensation = 0;
  hadc2.Init.ScanConvMode = ADC_SCAN_DISABLE;
  hadc2.Init.EOCSelection = ADC_EOC_SINGLE_CONV;
  hadc2.Init.LowPowerAutoWait = DISABLE;
  hadc2.Init.ContinuousConvMode = DISABLE;
  hadc2.Init.NbrOfConversion = 1;
  hadc2.Init.DiscontinuousConvMode = DISABLE;
  hadc2.Init.ExternalTrigConv = ADC_SOFTWARE_START;
  hadc2.Init.ExternalTrigConvEdge = ADC_EXTERNALTRIGCONVEDGE_NONE;
  hadc2.Init.DMAContinuousRequests = DISABLE;
  hadc2.Init.Overrun = ADC_OVR_DATA_OVERWRITTEN;
  hadc2.Init.OversamplingMode = DISABLE;
  if (HAL_ADC_Init(&hadc2) != HAL_OK)
  {
    Error_Handler();
  }

  /** Configure Regular Channel
  */
  sConfig.Channel = ADC_CHANNEL_17;
  sConfig.Rank = ADC_REGULAR_RANK_1;
  sConfig.SamplingTime = ADC_SAMPLETIME_2CYCLES_5;
  sConfig.SingleDiff = ADC_SINGLE_ENDED;
  sConfig.OffsetNumber = ADC_OFFSET_NONE;
  sConfig.Offset = 0;
  if (HAL_ADC_ConfigChannel(&hadc2, &sConfig) != HAL_OK)
  {
    Error_Handler();
  }

  /** Configure Injected Channel
  */
  sConfigInjected.InjectedChannel = ADC_CHANNEL_17;
  sConfigInjected.InjectedRank = ADC_INJECTED_RANK_1;
  sConfigInjected.InjectedSamplingTime = ADC_SAMPLETIME_47CYCLES_5;
  sConfigInjected.InjectedSingleDiff = ADC_SINGLE_ENDED;
  sConfigInjected.InjectedOffsetNumber = ADC_OFFSET_NONE;
  sConfigInjected.InjectedOffset = 0;
  sConfigInjected.InjectedNbrOfConversion = 1;
  sConfigInjected.InjectedDiscontinuousConvMode = DISABLE;
  sConfigInjected.AutoInjectedConv = DISABLE;
  sConfigInjected.QueueInjectedContext = DISABLE;
  sConfigInjected.ExternalTrigInjecConv = ADC_EXTERNALTRIGINJEC_T1_CC4;
  sConfigInjected.ExternalTrigInjecConvEdge = ADC_EXTERNALTRIGINJECCONV_EDGE_RISING;
  sConfigInjected.InjecOversamplingMode = DISABLE;
  if (HAL_ADCEx_InjectedConfigChannel(&hadc2, &sConfigInjected) != HAL_OK)
  {
    Error_Handler();
  }

}

static void MX_FDCAN1_Init(void)
{

  hfdcan1.Instance = FDCAN1;
  hfdcan1.Init.ClockDivider = FDCAN_CLOCK_DIV1;
  hfdcan1.Init.FrameFormat = FDCAN_FRAME_FD_BRS;
  hfdcan1.Init.Mode = FDCAN_MODE_NORMAL;
  hfdcan1.Init.AutoRetransmission = ENABLE;
  hfdcan1.Init.TransmitPause = DISABLE;
  hfdcan1.Init.ProtocolException = DISABLE;
  hfdcan1.Init.NominalPrescaler = 17;
  hfdcan1.Init.NominalSyncJumpWidth = 1;
  hfdcan1.Init.NominalTimeSeg1 = 15;
  hfdcan1.Init.NominalTimeSeg2 = 4;
  hfdcan1.Init.DataPrescaler = 5;
  hfdcan1.Init.DataSyncJumpWidth = 1;
  hfdcan1.Init.DataTimeSeg1 = 12;
  hfdcan1.Init.DataTimeSeg2 = 4;
  hfdcan1.Init.StdFiltersNbr = 1;
  hfdcan1.Init.ExtFiltersNbr = 0;
  hfdcan1.Init.TxFifoQueueMode = FDCAN_TX_FIFO_OPERATION;
  if (HAL_FDCAN_Init(&hfdcan1) != HAL_OK)
  {
    Error_Handler();
  }

}

static void MX_LPUART1_UART_Init(void)
{

  hlpuart1.Instance = LPUART1;
  hlpuart1.Init.BaudRate = 209700;
  hlpuart1.Init.WordLength = UART_WORDLENGTH_8B;
  hlpuart1.Init.StopBits = UART_STOPBITS_1;
  hlpuart1.Init.Parity = UART_PARITY_NONE;
  hlpuart1.Init.Mode = UART_MODE_TX_RX;
  hlpuart1.Init.HwFlowCtl = UART_HWCONTROL_NONE;
  hlpuart1.Init.OneBitSampling = UART_ONE_BIT_SAMPLE_DISABLE;
  hlpuart1.Init.ClockPrescaler = UART_PRESCALER_DIV1;
  hlpuart1.AdvancedInit.AdvFeatureInit = UART_ADVFEATURE_NO_INIT;
  if (HAL_UART_Init(&hlpuart1) != HAL_OK)
  {
    Error_Handler();
  }
  if (HAL_UARTEx_SetTxFifoThreshold(&hlpuart1, UART_TXFIFO_THRESHOLD_1_8) != HAL_OK)
  {
    Error_Handler();
  }
  if (HAL_UARTEx_SetRxFifoThreshold(&hlpuart1, UART_RXFIFO_THRESHOLD_1_8) != HAL_OK)
  {
    Error_Handler();
  }
  if (HAL_UARTEx_DisableFifoMode(&hlpuart1) != HAL_OK)
  {
    Error_Handler();
  }

}

static void MX_SPI1_Init(void)
{

  /* SPI1 parameter configuration*/
  hspi1.Instance = SPI1;
  hspi1.Init.Mode = SPI_MODE_MASTER;
  hspi1.Init.Direction = SPI_DIRECTION_2LINES;
  hspi1.Init.DataSize = SPI_DATASIZE_8BIT;
  hspi1.Init.CLKPolarity = SPI_POLARITY_HIGH;
  hspi1.Init.CLKPhase = SPI_PHASE_2EDGE;
  hspi1.Init.NSS = SPI_NSS_SOFT;
  hspi1.Init.BaudRatePrescaler = SPI_BAUDRATEPRESCALER_32;
  hspi1.Init.FirstBit = SPI_FIRSTBIT_MSB;
  hspi1.Init.TIMode = SPI_TIMODE_DISABLE;
  hspi1.Init.CRCCalculation = SPI_CRCCALCULATION_DISABLE;
  hspi1.Init.CRCPolynomial = 7;
  hspi1.Init.CRCLength = SPI_CRC_LENGTH_DATASIZE;
  hspi1.Init.NSSPMode = SPI_NSS_PULSE_DISABLE;
  if (HAL_SPI_Init(&hspi1) != HAL_OK)
  {
    Error_Handler();
  }

}

static void MX_SPI3_Init(void)
{

  /* SPI3 parameter configuration*/
  hspi3.Instance = SPI3;
  hspi3.Init.Mode = SPI_MODE_MASTER;
  hspi3.Init.Direction = SPI_DIRECTION_2LINES;
  hspi3.Init.DataSize = SPI_DATASIZE_8BIT;
  hspi3.Init.CLKPolarity = SPI_POLARITY_LOW;
  hspi3.Init.CLKPhase = SPI_PHASE_1EDGE;
  hspi3.Init.NSS = SPI_NSS_SOFT;
  hspi3.Init.BaudRatePrescaler = SPI_BAUDRATEPRESCALER_32;
  hspi3.Init.FirstBit = SPI_FIRSTBIT_MSB;
  hspi3.Init.TIMode = SPI_TIMODE_DISABLE;
  hspi3.Init.CRCCalculation = SPI_CRCCALCULATION_DISABLE;
  hspi3.Init.CRCPolynomial = 7;
  hspi3.Init.CRCLength = SPI_CRC_LENGTH_DATASIZE;
  hspi3.Init.NSSPMode = SPI_NSS_PULSE_DISABLE;
  if (HAL_SPI_Init(&hspi3) != HAL_OK)
  {
    Error_Handler();
  }

}

static void MX_TIM1_Init(void)
{

  TIM_ClockConfigTypeDef sClockSourceConfig = {0};
  TIM_MasterConfigTypeDef sMasterConfig = {0};
  TIMEx_BreakInputConfigTypeDef sBreakInputConfig = {0};
  TIM_OC_InitTypeDef sConfigOC = {0};
  TIM_BreakDeadTimeConfigTypeDef sBreakDeadTimeConfig = {0};

  htim1.Instance = TIM1;
  htim1.Init.Prescaler = 0;
  htim1.Init.CounterMode = TIM_COUNTERMODE_CENTERALIGNED1;
  htim1.Init.Period = 4249;
  htim1.Init.ClockDivision = TIM_CLOCKDIVISION_DIV1;
  htim1.Init.RepetitionCounter = 0;
  htim1.Init.AutoReloadPreload = TIM_AUTORELOAD_PRELOAD_ENABLE;
  if (HAL_TIM_Base_Init(&htim1) != HAL_OK)
  {
    Error_Handler();
  }
  sClockSourceConfig.ClockSource = TIM_CLOCKSOURCE_INTERNAL;
  if (HAL_TIM_ConfigClockSource(&htim1, &sClockSourceConfig) != HAL_OK)
  {
    Error_Handler();
  }
  if (HAL_TIM_PWM_Init(&htim1) != HAL_OK)
  {
    Error_Handler();
  }
  if (HAL_TIM_OC_Init(&htim1) != HAL_OK)
  {
    Error_Handler();
  }
  sMasterConfig.MasterOutputTrigger = TIM_TRGO_RESET;
  sMasterConfig.MasterOutputTrigger2 = TIM_TRGO2_OC4REF_RISINGFALLING;
  sMasterConfig.MasterSlaveMode = TIM_MASTERSLAVEMODE_DISABLE;
  if (HAL_TIMEx_MasterConfigSynchronization(&htim1, &sMasterConfig) != HAL_OK)
  {
    Error_Handler();
  }
  sBreakInputConfig.Source = TIM_BREAKINPUTSOURCE_BKIN;
  sBreakInputConfig.Enable = TIM_BREAKINPUTSOURCE_ENABLE;
  sBreakInputConfig.Polarity = TIM_BREAKINPUTSOURCE_POLARITY_HIGH;
  if (HAL_TIMEx_ConfigBreakInput(&htim1, TIM_BREAKINPUT_BRK, &sBreakInputConfig) != HAL_OK)
  {
    Error_Handler();
  }
  sConfigOC.OCMode = TIM_OCMODE_PWM1;
  sConfigOC.Pulse = 0;
  sConfigOC.OCPolarity = TIM_OCPOLARITY_HIGH;
  sConfigOC.OCNPolarity = TIM_OCNPOLARITY_HIGH;
  sConfigOC.OCFastMode = TIM_OCFAST_DISABLE;
  sConfigOC.OCIdleState = TIM_OCIDLESTATE_RESET;
  sConfigOC.OCNIdleState = TIM_OCNIDLESTATE_RESET;
  if (HAL_TIM_PWM_ConfigChannel(&htim1, &sConfigOC, TIM_CHANNEL_1) != HAL_OK)
  {
    Error_Handler();
  }
  if (HAL_TIM_PWM_ConfigChannel(&htim1, &sConfigOC, TIM_CHANNEL_2) != HAL_OK)
  {
    Error_Handler();
  }
  if (HAL_TIM_PWM_ConfigChannel(&htim1, &sConfigOC, TIM_CHANNEL_3) != HAL_OK)
  {
    Error_Handler();
  }
  sConfigOC.OCMode = TIM_OCMODE_TIMING;
  sConfigOC.Pulse = 2125;
  if (HAL_TIM_OC_ConfigChannel(&htim1, &sConfigOC, TIM_CHANNEL_4) != HAL_OK)
  {
    Error_Handler();
  }
  sBreakDeadTimeConfig.OffStateRunMode = TIM_OSSR_DISABLE;
  sBreakDeadTimeConfig.OffStateIDLEMode = TIM_OSSI_DISABLE;
  sBreakDeadTimeConfig.LockLevel = TIM_LOCKLEVEL_OFF;
  sBreakDeadTimeConfig.DeadTime = 0;
  sBreakDeadTimeConfig.BreakState = TIM_BREAK_ENABLE;
  sBreakDeadTimeConfig.BreakPolarity = TIM_BREAKPOLARITY_HIGH;
  sBreakDeadTimeConfig.BreakFilter = 0;
  sBreakDeadTimeConfig.BreakAFMode = TIM_BREAK_AFMODE_INPUT;
  sBreakDeadTimeConfig.Break2State = TIM_BREAK2_DISABLE;
  sBreakDeadTimeConfig.Break2Polarity = TIM_BREAK2POLARITY_HIGH;
  sBreakDeadTimeConfig.Break2Filter = 0;
  sBreakDeadTimeConfig.Break2AFMode = TIM_BREAK_AFMODE_INPUT;
  sBreakDeadTimeConfig.AutomaticOutput = TIM_AUTOMATICOUTPUT_DISABLE;
  if (HAL_TIMEx_ConfigBreakDeadTime(&htim1, &sBreakDeadTimeConfig) != HAL_OK)
  {
    Error_Handler();
  }
  HAL_TIM_MspPostInit(&htim1);

}

static void MX_TIM6_Init(void)
{

  TIM_MasterConfigTypeDef sMasterConfig = {0};

  htim6.Instance = TIM6;
  htim6.Init.Prescaler = 16999;
  htim6.Init.CounterMode = TIM_COUNTERMODE_UP;
  htim6.Init.Period = 9;
  htim6.Init.AutoReloadPreload = TIM_AUTORELOAD_PRELOAD_DISABLE;
  if (HAL_TIM_Base_Init(&htim6) != HAL_OK)
  {
    Error_Handler();
  }
  sMasterConfig.MasterOutputTrigger = TIM_TRGO_RESET;
  sMasterConfig.MasterSlaveMode = TIM_MASTERSLAVEMODE_DISABLE;
  if (HAL_TIMEx_MasterConfigSynchronization(&htim6, &sMasterConfig) != HAL_OK)
  {
    Error_Handler();
  }

}

static void MX_GPIO_Init(void)
{
  GPIO_InitTypeDef GPIO_InitStruct = {0};

  /* GPIO Ports Clock Enable */
  __HAL_RCC_GPIOC_CLK_ENABLE();
  __HAL_RCC_GPIOF_CLK_ENABLE();
  __HAL_RCC_GPIOA_CLK_ENABLE();
  __HAL_RCC_GPIOB_CLK_ENABLE();

  /*Configure GPIO pin Output Level */
  HAL_GPIO_WritePin(GPIOC, MOTOR_ENCODER_CS_Pin|JOINT_ENCODER_CS_Pin, GPIO_PIN_RESET);

  /*Configure GPIO pins : MOTOR_ENCODER_CS_Pin JOINT_ENCODER_CS_Pin */
  GPIO_InitStruct.Pin = MOTOR_ENCODER_CS_Pin|JOINT_ENCODER_CS_Pin;
  GPIO_InitStruct.Mode = GPIO_MODE_OUTPUT_PP;
  GPIO_InitStruct.Pull = GPIO_NOPULL;
  GPIO_InitStruct.Speed = GPIO_SPEED_FREQ_LOW;
  HAL_GPIO_Init(GPIOC, &GPIO_InitStruct);

  /* USER CODE BEGIN MX_GPIO_Init_2 */
  HAL_GPIO_WritePin(GPIOC,
                    MOTOR_ENCODER_CS_Pin | JOINT_ENCODER_CS_Pin,
                    GPIO_PIN_SET);

  /* USER CODE END MX_GPIO_Init_2 */
}

/* USER CODE BEGIN 4 */

void HAL_ADCEx_InjectedConvCpltCallback(ADC_HandleTypeDef *hadc)
{
  if (hadc->Instance == ADC1)
  {
    g_adc1_current_raw =
        (uint16_t)HAL_ADCEx_InjectedGetValue(&hadc1,
                                             ADC_INJECTED_RANK_1);

    g_adc1_sample_done = 1U;
  }
  else if (hadc->Instance == ADC2)
  {
    g_adc2_current_raw =
        (uint16_t)HAL_ADCEx_InjectedGetValue(&hadc2,
                                             ADC_INJECTED_RANK_1);

    g_adc2_sample_done = 1U;
  }

  /*
   * Only report a complete sample when both ADCs
   * have finished the same trigger event.
   */
  if ((g_adc1_sample_done != 0U) &&
      (g_adc2_sample_done != 0U))
  {
    g_adc_sample_ready = 1U;

    g_adc1_sample_done = 0U;
    g_adc2_sample_done = 0U;
  }
}

void HAL_TIM_PeriodElapsedCallback(TIM_HandleTypeDef *htim)
{
  if (htim->Instance == TIM6)
  {
    g_tick_ms++;
  }
}

void BSP_PB_Callback(Button_TypeDef Button)
{
  if (Button == BUTTON_USER)
  {
    if (g_motor_controller.state == MOTOR_STATE_RUNNING)
    {
      g_pending_motor_command = MOTOR_CMD_STOP;
    }
    else if (g_motor_controller.state == MOTOR_STATE_READY)
    {
      g_pending_motor_command = MOTOR_CMD_START;
    }
  }
}

/* USER CODE END 4 */

void Error_Handler(void)
{
  __disable_irq();
  while (1)
  {
  }
}
